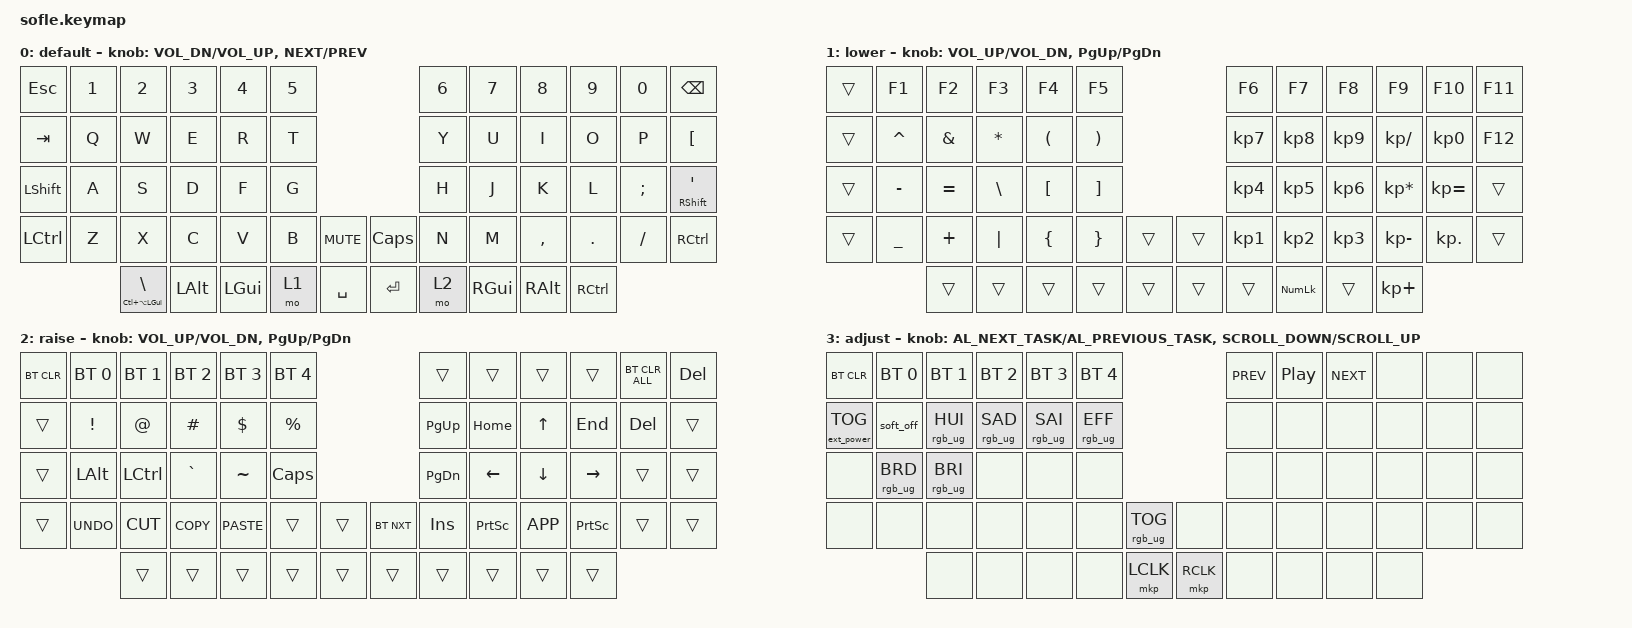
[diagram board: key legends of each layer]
/*
 * Copyright (c) 2020 The ZMK Contributors
 *
 * SPDX-License-Identifier: MIT
 */

#include <dt-bindings/zmk/mouse.h>
#include <behaviors.dtsi>
#include <dt-bindings/zmk/bt.h>
#include <dt-bindings/zmk/ext_power.h>
#include <dt-bindings/zmk/keys.h>
#include <dt-bindings/zmk/pointing.h>
#include <dt-bindings/zmk/rgb.h>

#define BASE 0
#define LOWER 1
#define RAISE 2
#define ADJUST 3

&sk {
};

/ {
    // Activate ADJUST layer by pressing raise and lower

    conditional_layers {
        compatible = "zmk,conditional-layers";

        adjust_layer {
            if-layers = <LOWER RAISE>;
            then-layer = <ADJUST>;
        };
    };

    combos {
        compatible = "zmk,combos";

        spacemacs-escape {
            bindings = <&kp ESCAPE>;
            key-positions = <28 27>;
            timeout-ms = <50>;
            require-prior-idle-ms = <150>;
        };

        backspace {
            bindings = <&kp BSPC>;
            key-positions = <31 34>;
        };

        delete {
            bindings = <&kp DEL>;
            key-positions = <46 47>;
        };
    };

    behaviors {
        hml: homerow_mods_left {
            compatible = "zmk,behavior-hold-tap";
            label = "HOMEROW_MODS_LEFT_HAND";
            bindings = <&kp>, <&kp>;

            #binding-cells = <2>;
            tapping-term-ms = <400>;
            hold-trigger-key-positions = <6 7 8 9 10 6 10 11 18 19 20 21 22 23 30 31 32 33 34 35 44 45 46 47 48 49 56 57 58 59 43 55>;
        };

        hmr: homerow_mods_right {
            compatible = "zmk,behavior-hold-tap";
            label = "HOMEROW_MODS_RIGHT_HAND";
            bindings = <&kp>, <&kp>;

            #binding-cells = <2>;
            tapping-term-ms = <400>;
            hold-trigger-key-positions = <0 1 2 3 4 5 12 13 14 15 16 17 24 25 26 27 28 29 36 37 38 39 40 41 42 50 51 52 53 54>;
        };
    };

    keymap {
        compatible = "zmk,keymap";

        base {
            display-name = "default";

            // ------------------------------------------------------------------------------------------------------------
            // |  ESC  |  1  |  2  |  3   |  4   |  5   |                   |  6   |  7    |  8    |  9   |   0   | BKSPC |
            // |  TAB  |  Q  |  W  |  E   |  R   |  T   |                   |  Y   |  U    |  I    |  O   |   P   |   [   |
            // |SHIFT  |  A  |  S  |  D   |  F   |  G   |                   |  H   |  J    |  K    |  L   |   ;   | SFT ' |
            // | CTRL  |  Z  |  X  |  C   |  V   |  B   |  MUTE  | CAPSLOCK |  N   |  M    |  ,    |  .   |   /   | CTRL  |
            //               | \(GUI+ALT+CTRL) | ALT  | GUI | LOWER | SPACE | ENTER | RAISE | GUI   | ALT   | CTRL  |

            bindings = <
&kp ESC     &kp N1  &kp N2                      &kp N3    &kp N4    &kp N5                              &kp N6  &kp N7    &kp N8     &kp N9      &kp N0         &kp BACKSPACE
&kp TAB     &kp Q   &kp W                       &kp E     &kp R     &kp T                               &kp Y   &kp U     &kp I      &kp O       &kp P          &kp LBKT
&kp LSHIFT  &kp A   &kp S                       &kp D     &kp F     &kp G                               &kp H   &kp J     &kp K      &kp L       &kp SEMICOLON  &hmr RSHFT SQT
&kp LCTRL   &kp Z   &kp X                       &kp C     &kp V     &kp B   &kp C_MUTE    &kp CAPSLOCK  &kp N   &kp M     &kp COMMA  &kp PERIOD  &kp SLASH      &kp RCTRL
                    &mt LC(LA(LGUI)) BACKSLASH  &kp LALT  &kp LGUI  &mo 1   &kp SPACE     &kp ENTER     &mo 2   &kp RGUI  &kp RALT   &kp RCTRL
            >;

            sensor-bindings =
                <&inc_dec_kp C_VOL_DN C_VOL_UP>,
                <&inc_dec_kp C_NEXT C_PREV>;
        };

        lower_layer {
            display-name = "lower";

            // TODO: Some binds are waiting for shifted keycode support.
            // ------------------------------------------------------------------------------------------------------------
            // |       |  F1 |  F2 |  F3  |  F4  |  F5  |                   |  F6  |  F7   |  F8   |  F9  |  F10  |  F11  |
            // |   `   |  1  |  2  |  3   |  4   |  5   |                   |  6   |  7    |  8    |  9   |   0   |  F12  |
            // |       |  !  |  @  |  #   |  $   |  %   |                   |  ^   |  &    |  *    |  (   |   )   |   |   |
            // |       |  =  |  -  |  +   |  {   |  }   |        |  |       |  [   |  ]    |  ;    |  :   |   \   |       |
            //               |     |      |      |      |        |  |       |      |       |       |      |

            bindings = <
&trans  &kp F1          &kp F2         &kp F3         &kp F4                &kp F5                                   &kp F6     &kp F7      &kp F8     &kp F9           &kp F10       &kp F11
&trans  &kp CARET       &kp AMPERSAND  &kp ASTERISK   &kp LEFT_PARENTHESIS  &kp RIGHT_PARENTHESIS                    &kp KP_N7  &kp KP_N8   &kp KP_N9  &kp KP_DIVIDE    &kp KP_N0     &kp F12
&trans  &kp MINUS       &kp EQUAL      &kp BACKSLASH  &kp LBKT              &kp RBKT                                 &kp KP_N4  &kp KP_N5   &kp KP_N6  &kp KP_MULTIPLY  &kp KP_EQUAL  &trans
&trans  &kp UNDERSCORE  &kp PLUS       &kp PIPE       &kp LBRC              &kp RBRC               &trans    &trans  &kp KP_N1  &kp KP_N2   &kp KP_N3  &kp KP_MINUS     &kp KP_DOT    &trans
                        &trans         &trans         &trans                &trans                 &trans    &trans  &trans     &kp KP_NUM  &trans     &kp KP_PLUS
            >;

            sensor-bindings = <&inc_dec_kp C_VOL_UP C_VOL_DN &inc_dec_kp PG_UP PG_DN>;
        };

        raise_layer {
            display-name = "raise";

            // ------------------------------------------------------------------------------------------------------------
            // | BTCLR | BT1  | BT2  |  BT3  |  BT4  |  BT5 |                |      |      |       |      |       |       |
            // |       | INS  | PSCR | GUI   |       |      |                | PGUP |      |   ^   |      |       |       |
            // |       | ALT  | CTRL | SHIFT |       | CAPS |                | PGDN |   <- |   v   |  ->  |  DEL  | BKSPC |
            // |       | UNDO | CUT  | COPY  | PASTE |      |      |  |      |      |      |       |      |       |       |
            //                |      |       |       |      |      |  |      |      |      |       |      |

            bindings = <
&bt BT_CLR  &bt BT_SEL 0  &bt BT_SEL 1  &bt BT_SEL 2  &bt BT_SEL 3  &bt BT_SEL 4                        &trans     &trans           &trans     &trans           &bt BT_CLR_ALL  &kp DEL
&trans      &kp EXCL      &kp AT_SIGN   &kp POUND     &kp DOLLAR    &kp PERCENT                         &kp PG_UP  &kp HOME         &kp UP     &kp END          &kp DEL         &trans
&trans      &kp LALT      &kp LCTRL     &kp GRAVE     &kp TILDE     &kp CLCK                            &kp PG_DN  &kp LEFT         &kp DOWN   &kp RIGHT        &trans          &trans
&trans      &kp K_UNDO    &kp K_CUT     &kp K_COPY    &kp K_PASTE   &trans        &trans    &bt BT_NXT  &kp INS    &kp PRINTSCREEN  &kp K_APP  &kp PRINTSCREEN  &trans          &trans
                          &trans        &trans        &trans        &trans        &trans    &trans      &trans     &trans           &trans     &trans
            >;

            sensor-bindings = <&inc_dec_kp C_VOL_UP C_VOL_DN &inc_dec_kp PG_UP PG_DN>;
        };

        adjust_layer {
            // ----------------------------------------------------------------------------------------------------------------------------
            // | BTCLR  |  BT1    |  BT2    |   BT3   |   BT4   |   BT5   |                  |      |      |       |      |       |       |
            // | EXTPWR | RGB_HUD | RGB_HUI | RGB_SAD | RGB_SAI | RGB_EFF |                  |      |      |       |      |       |       |
            // |        | RGB_BRD | RGB_BRI |         |         |         |                  |      |      |       |      |       |       |
            // |        |         |         |         |         |         | RGB_TOG | |      |      |      |       |      |       |       |
            //                    |         |         |         |         |         | |      |      |      |       |      |

            display-name = "adjust";
            bindings = <
&bt BT_CLR         &bt BT_SEL 0     &bt BT_SEL 1     &bt BT_SEL 2     &bt BT_SEL 3     &bt BT_SEL 4                                   &kp C_PREV  &kp C_PP  &kp C_NEXT  &none  &none  &none
&ext_power EP_TOG  &soft_off        &rgb_ug RGB_HUI  &rgb_ug RGB_SAD  &rgb_ug RGB_SAI  &rgb_ug RGB_EFF                                &none       &none     &none       &none  &none  &none
&none              &rgb_ug RGB_BRD  &rgb_ug RGB_BRI  &none            &none            &none                                          &none       &none     &none       &none  &none  &none
&none              &none            &none            &none            &none            &none            &rgb_ug RGB_TOG    &none      &none       &none     &none       &none  &none  &none
                                    &none            &none            &none            &none            &mkp LCLK          &mkp RCLK  &none       &none     &none       &none
            >;

            sensor-bindings =
                <&inc_dec_kp C_AL_NEXT_TASK C_AL_PREVIOUS_TASK>,
                <&inc_dec_kp K_SCROLL_DOWN K_SCROLL_UP>;
        };
    };
};
